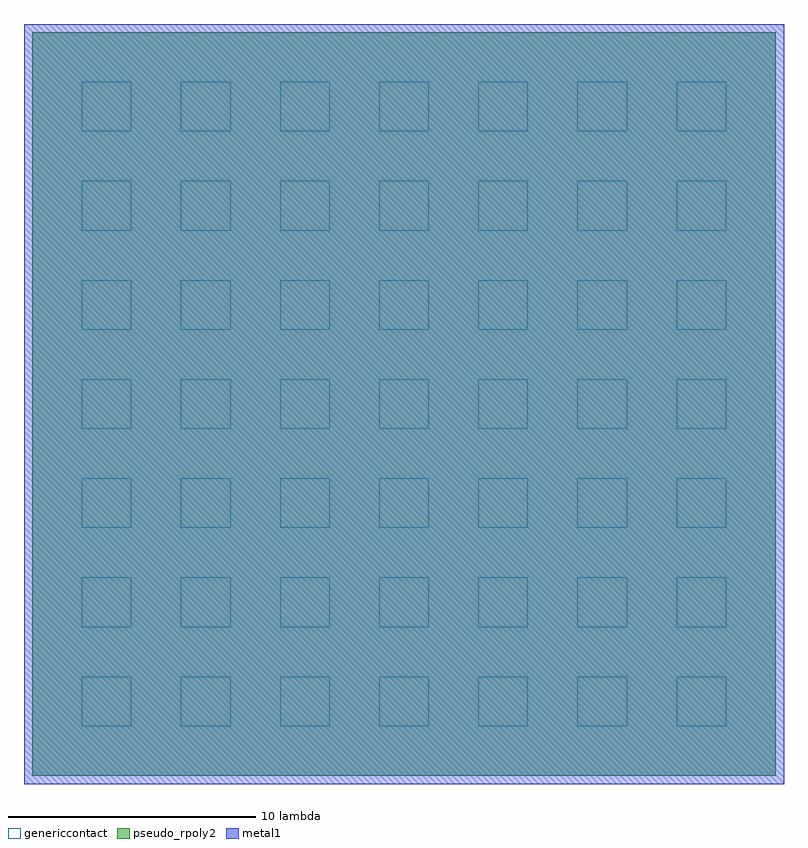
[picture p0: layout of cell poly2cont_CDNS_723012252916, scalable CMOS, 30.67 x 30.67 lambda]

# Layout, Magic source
magic
tech scmos
magscale 1 3
<< genericcontact >>
rect 7 79 13 85
rect 19 79 25 85
rect 31 79 37 85
rect 43 79 49 85
rect 55 79 61 85
rect 67 79 73 85
rect 79 79 85 85
rect 7 67 13 73
rect 19 67 25 73
rect 31 67 37 73
rect 43 67 49 73
rect 55 67 61 73
rect 67 67 73 73
rect 79 67 85 73
rect 7 55 13 61
rect 19 55 25 61
rect 31 55 37 61
rect 43 55 49 61
rect 55 55 61 61
rect 67 55 73 61
rect 79 55 85 61
rect 7 43 13 49
rect 19 43 25 49
rect 31 43 37 49
rect 43 43 49 49
rect 55 43 61 49
rect 67 43 73 49
rect 79 43 85 49
rect 7 31 13 37
rect 19 31 25 37
rect 31 31 37 37
rect 43 31 49 37
rect 55 31 61 37
rect 67 31 73 37
rect 79 31 85 37
rect 7 19 13 25
rect 19 19 25 25
rect 31 19 37 25
rect 43 19 49 25
rect 55 19 61 25
rect 67 19 73 25
rect 79 19 85 25
rect 7 7 13 13
rect 19 7 25 13
rect 31 7 37 13
rect 43 7 49 13
rect 55 7 61 13
rect 67 7 73 13
rect 79 7 85 13
<< metal1 >>
rect 0 0 92 92
<< pseudo_rpoly2 >>
rect 1 1 91 91
<< end >>
